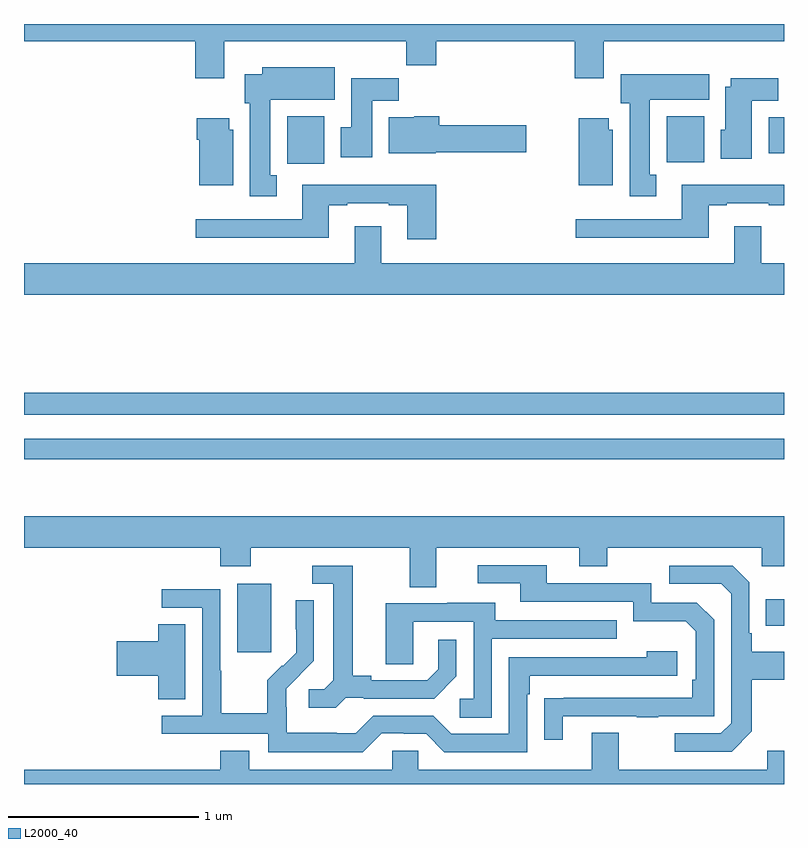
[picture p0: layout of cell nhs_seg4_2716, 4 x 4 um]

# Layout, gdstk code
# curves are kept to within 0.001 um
import gdstk
lib = gdstk.Library(unit=1e-6, precision=1e-09)
def R(c, l, rs):  # rectangles x0, y0, x1, y1
    for r in rs: c.add(gdstk.rectangle(r[:2], r[2:], *l))
def P(c, l, *ps):  # polygons
    for p in ps: c.add(gdstk.Polygon(p, *l))
L2000_40 = (2000, 40)

nhs_seg4_2716 = lib.new_cell('nhs_seg4_2716')
R(nhs_seg4_2716, L2000_40, [(254.123,805.593,254.302,805.954), (256.903,805.733,257,805.873), (253,806.61,257,806.718), (253,806.844,257,806.96), (254.385,808.164,254.581,808.414), (256.382,808.172,256.579,808.414), (256.919,808.22,257,808.408)])
P(nhs_seg4_2716, L2000_40, [(254.053,808.808),(255.013,808.808),(255.013,808.684),(255.17,808.684),(255.17,808.808),(255.899,808.808),(255.899,808.614),(256.051,808.614),(256.051,808.808),(257,808.808),(257,808.9),(253,808.9),(253,808.808),(253.901,808.808),(253.901,808.614),(254.053,808.614)],
  [(254.329,808.105),(254.296,808.105),(254.296,808.502),(254.635,808.502),(254.635,808.672),(254.255,808.672),(254.255,808.636),(254.162,808.636),(254.162,808.482),(254.189,808.482),(254.189,807.993),(254.329,807.993)],
  [(256.327,808.106),(256.294,808.106),(256.294,808.502),(256.606,808.502),(256.606,808.636),(256.142,808.636),(256.142,808.482),(256.187,808.482),(256.187,807.993),(256.327,807.993)],
  [(256.831,808.496),(256.97,808.496),(256.97,808.615),(256.721,808.615),(256.721,808.57),(256.691,808.57),(256.691,808.344),(256.667,808.344),(256.667,808.19),(256.831,808.19)],
  [(254.833,808.496),(254.972,808.496),(254.972,808.614),(254.723,808.614),(254.723,808.356),(254.666,808.356),(254.666,808.2),(254.833,808.2)],
  [(255.168,808.226),(255.643,808.226),(255.643,808.368),(255.185,808.368),(255.185,808.414),(255.054,808.414),(255.054,808.408),(254.921,808.408),(254.921,808.22),(255.168,808.22)],
  [(254.101,808.344),(254.08,808.344),(254.08,808.405),(253.91,808.405),(253.91,808.292),(253.922,808.292),(253.922,808.052),(254.101,808.052)],
  [(256.099,808.344),(256.078,808.344),(256.078,808.405),(255.92,808.405),(255.92,808.052),(256.099,808.052)],
  [(255.17,808.054),(254.465,808.054),(254.465,807.873),(253.905,807.873),(253.905,807.776),(254.605,807.776),(254.605,807.945),(254.701,807.945),(254.701,807.957),(254.921,807.957),(254.921,807.945),(255.017,807.945),(255.017,807.768),(255.17,807.768)],
  [(256.603,807.945),(256.699,807.945),(256.699,807.957),(256.919,807.957),(256.919,807.945),(257,807.945),(257,808.054),(256.463,808.054),(256.463,807.873),(255.903,807.873),(255.903,807.776),(256.603,807.776)],
  [(257,807.64),(256.879,807.64),(256.879,807.835),(256.739,807.835),(256.739,807.64),(254.881,807.64),(254.881,807.835),(254.741,807.835),(254.741,807.64),(253,807.64),(253,807.476),(257,807.476)],
  [(255.169,806.144),(255.923,806.144),(255.923,806.045),(256.071,806.045),(256.071,806.144),(256.884,806.144),(256.884,806.045),(257,806.045),(257,806.308),(253,806.308),(253,806.144),(254.033,806.144),(254.033,806.045),(254.193,806.045),(254.193,806.144),(255.029,806.144),(255.029,805.936),(255.169,805.936)],
  [(255.835,805.257),(256.225,805.257),(256.225,805.252),(256.337,805.252),(256.337,805.257),(256.632,805.257),(256.632,805.764),(256.542,805.854),(256.302,805.854),(256.302,805.956),(255.751,805.956),(255.751,806.052),(255.387,806.052),(255.387,805.956),(255.611,805.956),(255.611,805.86),(256.206,805.86),(256.206,805.757),(256.483,805.757),(256.536,805.704),(256.536,805.45),(256.516,805.45),(256.516,805.353),(255.739,805.352),(255.739,805.134),(255.835,805.134)],
  [(256.831,805.177),(256.831,805.45),(257,805.45),(257,805.597),(256.831,805.597),(256.831,805.693),(256.818,805.693),(256.818,805.962),(256.731,806.049),(256.395,806.049),(256.395,805.953),(256.671,805.953),(256.722,805.902),(256.722,805.221),(256.668,805.167),(256.425,805.167),(256.425,805.071),(256.725,805.071)],
  [(254.694,805.353),(254.788,805.353),(254.788,805.35),(255.16,805.35),(255.276,805.466),(255.276,805.66),(255.179,805.66),(255.179,805.503),(255.122,805.446),(254.827,805.446),(254.827,805.469),(254.731,805.469),(254.731,806.049),(254.517,806.049),(254.517,805.953),(254.627,805.953),(254.627,805.445),(254.58,805.398),(254.499,805.398),(254.499,805.301),(254.642,805.301)],
  [(254.883,805.167),(254.999,805.167),(254.999,805.164),(255.117,805.164),(255.213,805.068),(255.648,805.068),(255.648,805.373),(255.661,805.373),(255.661,805.47),(256.438,805.47),(256.438,805.6),(256.277,805.6),(256.277,805.566),(255.552,805.566),(255.552,805.164),(255.249,805.164),(255.153,805.26),(254.838,805.26),(254.745,805.167),(254.645,805.167),(254.645,805.171),(254.382,805.171),(254.382,805.305),(254.38,805.305),(254.38,805.402),(254.526,805.55),(254.526,805.868),(254.43,805.868),(254.43,805.714),(254.432,805.714),(254.432,805.592),(254.361,805.521),(254.358,805.524),(254.281,805.447),(254.281,805.273),(254.037,805.273),(254.037,805.496),(254.034,805.496),(254.034,805.926),(253.725,805.926),(253.725,805.827),(253.938,805.827),(253.938,805.26),(253.725,805.26),(253.725,805.164),(254.286,805.164),(254.286,805.067),(254.783,805.067)],
  [(255.462,805.665),(256.121,805.665),(256.121,805.761),(255.481,805.761),(255.481,805.855),(255.227,805.855),(255.227,805.851),(254.903,805.851),(254.903,805.531),(255.048,805.531),(255.048,805.755),(255.366,805.755),(255.366,805.35),(255.294,805.35),(255.294,805.249),(255.462,805.249)],
  [(253.849,805.742),(253.706,805.742),(253.706,805.652),(253.488,805.652),(253.488,805.469),(253.706,805.469),(253.706,805.345),(253.849,805.345)],
  [(257,805.075),(256.913,805.075),(256.913,804.976),(256.129,804.976),(256.129,805.171),(255.989,805.171),(255.989,804.976),(255.075,804.976),(255.075,805.074),(254.937,805.074),(254.937,804.976),(254.185,804.976),(254.185,805.075),(254.033,805.075),(254.033,804.976),(253,804.976),(253,804.9),(257,804.9)])

lib.write_gds('nhs_seg4_2716.gds')
